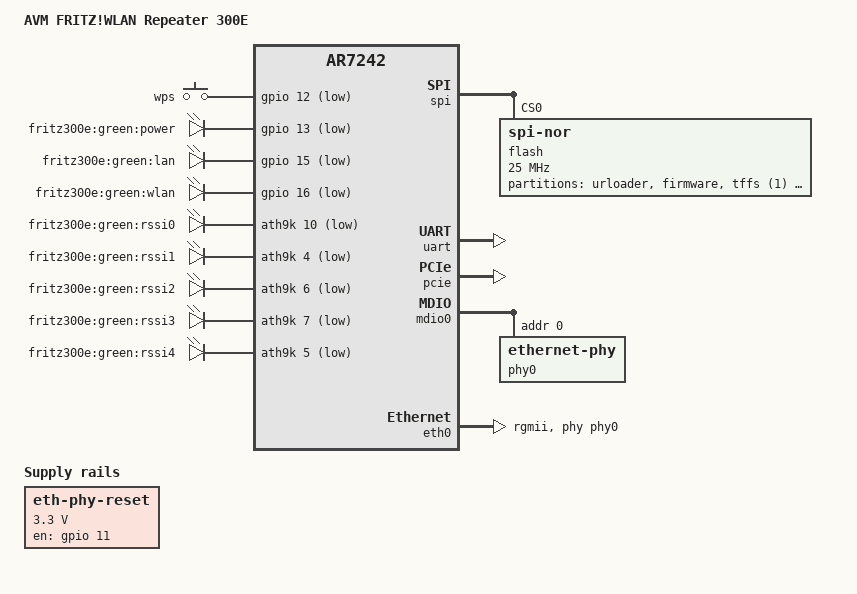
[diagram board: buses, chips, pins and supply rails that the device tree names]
// SPDX-License-Identifier: GPL-2.0-or-later OR MIT
/dts-v1/;

#include <dt-bindings/gpio/gpio.h>
#include <dt-bindings/input/input.h>

#include "ar7242.dtsi"

/ {
	compatible = "avm,fritz300e", "qca,ar7242";
	model = "AVM FRITZ!WLAN Repeater 300E";

	aliases {
		led-boot = &power;
		led-failsafe = &power;
		led-running = &power;
		led-upgrade = &power;
	};

	gpio-keys {
		compatible = "gpio-keys-polled";
		poll-interval = <20>;

		wps {
			label = "wps";
			linux,code = <KEY_WPS_BUTTON>;
			gpios = <&gpio 12 GPIO_ACTIVE_LOW>;
			debounce-interval = <60>;
		};
	};

	leds {
		compatible = "gpio-leds";

		power: power {
			label = "fritz300e:green:power";
			gpios = <&gpio 13 GPIO_ACTIVE_LOW>;
			default-state = "on";
		};

		lan {
			label = "fritz300e:green:lan";
			gpios = <&gpio 15 GPIO_ACTIVE_LOW>;
		};

		wlan {
			label = "fritz300e:green:wlan";
			gpios = <&gpio 16 GPIO_ACTIVE_LOW>;
			linux,default-trigger = "phy0tpt";
		};
	};

	ath9k-leds {
		compatible = "gpio-leds";

		rssi0 {
			label = "fritz300e:green:rssi0";
			gpios = <&ath9k 10 GPIO_ACTIVE_LOW>;
		};

		rssi1 {
			label = "fritz300e:green:rssi1";
			gpios = <&ath9k 4 GPIO_ACTIVE_LOW>;
		};

		rssi2 {
			label = "fritz300e:green:rssi2";
			gpios = <&ath9k 6 GPIO_ACTIVE_LOW>;
		};

		rssi3 {
			label = "fritz300e:green:rssi3";
			gpios = <&ath9k 7 GPIO_ACTIVE_LOW>;
		};

		rssi4 {
			label = "fritz300e:green:rssi4";
			gpios = <&ath9k 5 GPIO_ACTIVE_LOW>;
		};
	};

	eth-phy-reset {
		compatible = "regulator-fixed";

		regulator-name = "eth-phy-reset";
		regulator-min-microvolt = <3300000>;
		regulator-max-microvolt = <3300000>;

		gpio = <&gpio 11 GPIO_ACTIVE_LOW>;
		startup-delay-us = <300000>;
		enable-active-high;

		regulator-always-on;
	};
};

&spi {
	status = "okay";
	num-cs = <1>;

	flash@0 {
		compatible = "jedec,spi-nor";
		reg = <0>;
		spi-max-frequency = <25000000>;

		partitions {
			compatible = "fixed-partitions";
			#address-cells = <1>;
			#size-cells = <1>;

			partition@0 {
				reg = <0x0 0x20000>;
				label = "urloader";
				read-only;
			};

			partition@20000 {
				reg = <0x20000 0xee0000>;
				label = "firmware";
			};

			partition@f00000 {
				reg = <0xf00000 0x80000>;
				label = "tffs (1)";
				read-only;
			};

			partition@f80000 {
				reg = <0xf80000 0x80000>;
				label = "tffs (2)";
				read-only;
			};
		};
	};
};

&uart {
	status = "okay";
};

&pcie {
	status = "okay";

	ath9k: wifi@0,0 {
		reg = <0x0000 0 0 0 0>;
		#gpio-cells = <2>;
		gpio-controller;
		qca,no-eeprom;
	};
};

&mdio0 {
	status = "okay";

	phy0: ethernet-phy@0 {
		reg = <0>;
		phy-mode = "rgmii";
	};
};

&eth0 {
	status = "okay";

	phy-mode = "rgmii";
	phy-handle = <&phy0>;

	pll-data = <0x16000000 0x00000101 0x00001313>;
};
